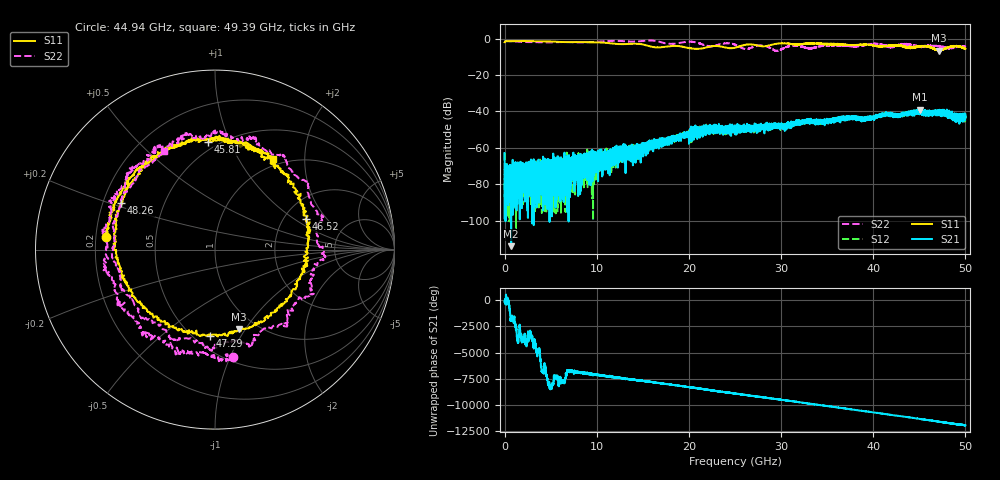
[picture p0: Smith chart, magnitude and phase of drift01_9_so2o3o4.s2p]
!Created with skrf (http://scikit-rf.org).
# Hz S RI R 50.0
!freq ReS11 ImS11 ReS21 ImS21 ReS12 ImS12 ReS22 ImS22
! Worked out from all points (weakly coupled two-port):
!   10001 points, 300 kHz to 50 GHz, reference 50 ohm
!   highest |S21| = -39.04 dB at 45.08 GHz (marker M1); lowest = -114.1 dB at 715.3 MHz (marker M2)
!   lowest |S11| = -6.7 dB at 47.17 GHz (marker M3), VSWR 2.72, Z = 41.6 - j46.9 ohm
!   |S11| at or under -10 dB: nowhere
!   |S22| runs from -6.9 to -1.1 dB; largest |S21 - S12| = 0.004
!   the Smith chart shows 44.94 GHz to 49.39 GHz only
!   S11 on the Smith chart (normalised r, x): 44.94 GHz: 0.24, +0.05; 45.81 GHz: 0.44, +0.83; 46.52 GHz: 2.63, +1.26; 47.29 GHz: 0.60, -0.75; 48.26 GHz: 0.28, +0.22; 49.39 GHz: 0.91, +1.42
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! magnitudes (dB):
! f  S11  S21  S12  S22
! 300 kHz  -2.1  -62.9  -62.9  -1.3
! 255.3 MHz  -1.4  -77.6  -82.4  -1.4
! 715.3 MHz  -1.5  -114.1  -75.9  -1.5
! 4.865 GHz  -1.6  -94.3  -79.6  -2.1
! 8.335 GHz  -2.0  -67.4  -66.8  -2.1
! 16.67 GHz  -4.9  -58.0  -57.1  -1.6
! 21.42 GHz  -5.4  -49.4  -49.6  -3.1
! 25 GHz  -5.0  -51.9  -49.5  -3.4
! 28.12 GHz  -4.3  -50.0  -48.4  -3.9
! 29.52 GHz  -2.8  -47.8  -48.2  -6.7
! 31.3 GHz  -3.1  -46.6  -46.4  -4.0
! 33.34 GHz  -2.6  -46.0  -45.4  -5.5
! 41.67 GHz  -3.9  -41.9  -41.9  -4.7
! 44.94 GHz  -4.3  -39.8  -39.6  -4.3
! 45.08 GHz  -4.3  -39.0  -39.9  -4.5
! 45.81 GHz  -4.4  -40.4  -40.8  -4.0
! 46.52 GHz  -5.4  -42.0  -40.0  -3.9
! 47.17 GHz  -6.7  -41.2  -40.3  -4.2
! 47.29 GHz  -6.3  -41.1  -40.8  -4.0
! 48.26 GHz  -4.7  -41.0  -41.8  -5.2
! 49.39 GHz  -4.4  -43.7  -43.5  -4.2
! 50 GHz  -5.7  -41.5  -42.3  -4.2
